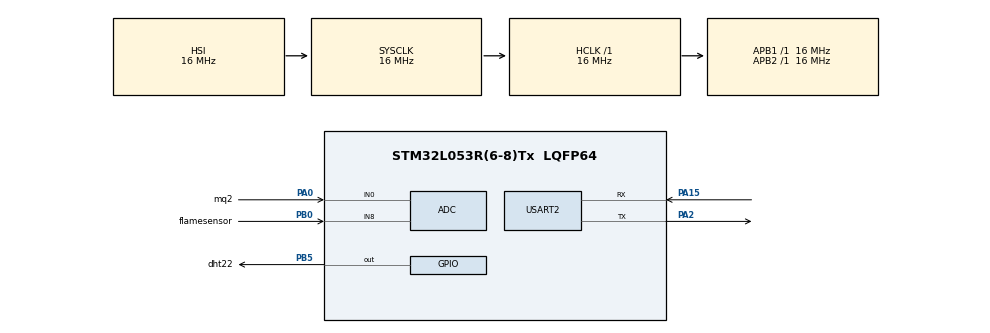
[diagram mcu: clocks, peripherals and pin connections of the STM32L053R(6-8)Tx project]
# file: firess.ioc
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ADC.ContinuousConvMode=ENABLE
ADC.SamplingTime=ADC_SAMPLETIME_3CYCLES_5
Mcu.Family=STM32L0
Mcu.Name=STM32L053R(6-8)Tx
Mcu.Package=LQFP64
PA0.GPIO_Label=mq2
PA0.Mode=IN0
PA0.Signal=ADC_IN0
PA15.Mode=Asynchronous
PA15.Signal=USART2_RX
PA2.Mode=Asynchronous
PA2.Signal=USART2_TX
PB0.GPIO_Label=flamesensor
PB0.Mode=IN8
PB0.Signal=ADC_IN8
PB5.GPIO_Label=dht22
PB5.Signal=GPIO_Output
ProjectManager.HeapSize=0x200
ProjectManager.StackSize=0x400
ProjectManager.TargetToolchain=CMake
RCC.ADCFreq_Value=16000000
RCC.AHBFreq_Value=16000000
RCC.APB1Freq_Value=16000000
RCC.APB1TimFreq_Value=16000000
RCC.APB2Freq_Value=16000000
RCC.APB2TimFreq_Value=16000000
RCC.HCLKFreq_Value=16000000
RCC.HSE_VALUE=8000000
RCC.HSI16_VALUE=16000000
RCC.HSI48_VALUE=48000000
RCC.HSI_VALUE=16000000
RCC.LSE_VALUE=32768
RCC.MSI_VALUE=2097000
RCC.SYSCLKFreq_VALUE=16000000
RCC.SYSCLKSource=RCC_SYSCLKSOURCE_HSI
RCC.VCOOutputFreq_Value=48000000
USART2.VirtualMode-Asynchronous=VM_ASYNC
board=custom

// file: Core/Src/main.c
/* USER CODE BEGIN Header */
/**
  ******************************************************************************
  * @file           : main.c
  * @brief          : Main program body
  ******************************************************************************
  * @attention
  *
  * Copyright (c) 2026 STMicroelectronics.
  * All rights reserved.
  *
  * This software is licensed under terms that can be found in the LICENSE file
  * in the root directory of this software component.
  * If no LICENSE file comes with this software, it is provided AS-IS.
  *
  ******************************************************************************
  */
/* USER CODE END Header */
#include "main.h"

/* USER CODE BEGIN Includes */
#include <stdio.h>
/* USER CODE END Includes */

ADC_HandleTypeDef hadc;

UART_HandleTypeDef huart2;

/* USER CODE BEGIN PV */
uint8_t dht_raw[5] = {0};
/* USER CODE END PV */

void SystemClock_Config(void);
static void MX_GPIO_Init(void);
static void MX_USART2_UART_Init(void);
static void MX_ADC_Init(void);

/* USER CODE BEGIN 0 */

static uint32_t read_adc(uint32_t chselr_mask)
{
    /* 0. ADC'nin aktif olduğundan emin ol (kilitlenmeyi önler) */
    if (!(ADC1->CR & ADC_CR_ADEN)) {
        ADC1->CR |= ADC_CR_ADEN;
        while (!(ADC1->ISR & ADC_ISR_ADRDY));
    }

    /* 1. Devam eden herhangi bir dönüşümü durdur */
    if (ADC1->CR & ADC_CR_ADSTART)
    {
        ADC1->CR |= ADC_CR_ADSTP;
        while (ADC1->CR & ADC_CR_ADSTP);
    }

    /* 2. Kanal seçimini temizle ve yenisini ata */
    ADC1->CHSELR = 0;
    for(volatile int i=0; i<50; i++);
    ADC1->CHSELR = chselr_mask;

    /* 3. Stabilizasyon beklemesi */
    for(volatile int i=0; i<100; i++);

    /* 4. DUMMY READ: Önceki kalıntıları temizle */
    ADC1->ISR |= ADC_ISR_EOC; // Bayrağı temizle
    ADC1->CR |= ADC_CR_ADSTART;
    while (!(ADC1->ISR & ADC_ISR_EOC));
    (void)ADC1->DR;

    /* 5. GERÇEK OKUMA */
    ADC1->CR |= ADC_CR_ADSTART;
    while (!(ADC1->ISR & ADC_ISR_EOC));

    return ADC1->DR;
}

static void delay_us(uint32_t us)
{
    uint32_t clk = us * (SystemCoreClock / 1000000U);
    uint32_t ts = SysTick->VAL;
    uint32_t tc;
    do {
        uint32_t te = SysTick->VAL;
        tc = (te > ts) ? (ts + SysTick->LOAD + 1 - te) : (ts - te);
    } while (tc < clk);
}

static void DHT22_SetOutput(void)
{
    GPIO_InitTypeDef g = {0};
    g.Pin = dht22_Pin;
    g.Mode = GPIO_MODE_OUTPUT_PP;
    g.Pull = GPIO_NOPULL;
    g.Speed = GPIO_SPEED_FREQ_LOW;
    HAL_GPIO_Init(dht22_GPIO_Port, &g);
}

static void DHT22_SetInput(void)
{
    GPIO_InitTypeDef g = {0};
    g.Pin = dht22_Pin;
    g.Mode = GPIO_MODE_INPUT;
    g.Pull = GPIO_PULLUP;
    HAL_GPIO_Init(dht22_GPIO_Port, &g);
}

static uint8_t DHT22_Read(float *temperature, float *humidity)
{
    uint8_t data[5] = {0};
    uint32_t count;

    DHT22_SetOutput();
    HAL_GPIO_WritePin(dht22_GPIO_Port, dht22_Pin, GPIO_PIN_RESET);
    HAL_Delay(1);
    HAL_GPIO_WritePin(dht22_GPIO_Port, dht22_Pin, GPIO_PIN_SET);
    delay_us(30);
    DHT22_SetInput();

    count = 0;
    while (HAL_GPIO_ReadPin(dht22_GPIO_Port, dht22_Pin) == GPIO_PIN_SET)
        if (++count > 10000) return 0;

    count = 0;
    while (HAL_GPIO_ReadPin(dht22_GPIO_Port, dht22_Pin) == GPIO_PIN_RESET)
        if (++count > 10000) return 0;

    count = 0;
    while (HAL_GPIO_ReadPin(dht22_GPIO_Port, dht22_Pin) == GPIO_PIN_SET)
        if (++count > 10000) return 0;

    __disable_irq();
    for (int i = 0; i < 40; i++)
    {
        count = 0;
        while (HAL_GPIO_ReadPin(dht22_GPIO_Port, dht22_Pin) == GPIO_PIN_RESET)
            if (++count > 10000) { __enable_irq(); return 0; }

        uint32_t t1 = SysTick->VAL;
        count = 0;
        while (HAL_GPIO_ReadPin(dht22_GPIO_Port, dht22_Pin) == GPIO_PIN_SET)
            if (++count > 10000) { __enable_irq(); return 0; }
        uint32_t t2 = SysTick->VAL;

        uint32_t dur = (t1 >= t2) ? (t1 - t2) : (t1 + SysTick->LOAD + 1 - t2);

        data[i / 8] <<= 1;
        if (dur > 768) data[i / 8] |= 1;
    }
    __enable_irq();

    for (int i = 0; i < 5; i++) dht_raw[i] = data[i];

    *humidity = ((data[0] << 8) | data[1]) / 10.0f;
    uint16_t rawTemp = (data[2] << 8) | data[3];
    *temperature = (rawTemp & 0x8000) ? -((rawTemp & 0x7FFF) / 10.0f) : (rawTemp / 10.0f);

    return 1;
}

/* USER CODE END 0 */

int main(void)
{

  /* MCU Configuration--------------------------------------------------------*/

  /* Reset of all peripherals, Initializes the Flash interface and the Systick. */
  HAL_Init();

  /* Configure the system clock */
  SystemClock_Config();

  /* Initialize all configured peripherals */
  MX_GPIO_Init();
  MX_USART2_UART_Init();
  MX_ADC_Init();
  /* USER CODE BEGIN 2 */
  HAL_ADCEx_Calibration_Start(&hadc, ADC_SINGLE_ENDED);
  ADC1->CR |= ADC_CR_ADEN;
  while (!(ADC1->ISR & ADC_ISR_ADRDY));
  /* USER CODE END 2 */

  /* Infinite loop */
  /* USER CODE BEGIN WHILE */
  float prevTemp = 0.0f;
  uint8_t firstRead = 1;

  while (1)
  {
    uint32_t mq2Val   = read_adc(1U << 0); /* PA0 -> ADC_IN0 -> MQ2  */
    uint32_t chselr_mq2 = ADC1->CHSELR;
    uint32_t flameVal = read_adc(1U << 8); /* PB0 -> ADC_IN8 -> Flame */
    uint32_t chselr_flame = ADC1->CHSELR;

    {
        char dbg[64];
        int dlen = snprintf(dbg, sizeof(dbg), "[DBG] CHSELR_MQ2=0x%lX CHSELR_FL=0x%lX\r\n",
                            chselr_mq2, chselr_flame);
        HAL_UART_Transmit(&huart2, (uint8_t *)dbg, dlen, 100);
    }

    float temperature = 0.0f, humidity = 0.0f;
    uint8_t dhtOk = DHT22_Read(&temperature, &humidity);

    char buf[96];
    int len;

    int tempInt = (int)temperature;
    int tempDec = (int)((temperature - tempInt) * 10);
    int humInt  = (int)humidity;
    int humDec  = (int)((humidity - humInt) * 10);

    if (dhtOk)
      len = snprintf(buf, sizeof(buf), "MQ2: %lu | Flame: %lu | Temp: %d.%d C | Nem: %d.%d%%\r\n",
                     mq2Val, flameVal, tempInt, tempDec, humInt, humDec);
    else
      len = snprintf(buf, sizeof(buf), "MQ2: %lu | Flame: %lu | DHT22: hata\r\n", mq2Val, flameVal);

    HAL_UART_Transmit(&huart2, (uint8_t *)buf, len, 100);

    uint8_t mq2Alarm   = (mq2Val > 1500);
    uint8_t flameAlarm = (flameVal < 2000);
    uint8_t tempAlarm  = 0;

    if (dhtOk)
    {
      if (!firstRead && (temperature - prevTemp) > 3.0f)
        tempAlarm = 1;
      prevTemp = temperature;
      firstRead = 0;
    }

    uint8_t alarmSkor = mq2Alarm + flameAlarm + tempAlarm;

    if (alarmSkor == 0)
    {
      HAL_UART_Transmit(&huart2, (uint8_t *)"Durum: Normal\r\n", 15, 100);
    }
    else if (alarmSkor == 1)
    {
      if (mq2Alarm)
        HAL_UART_Transmit(&huart2, (uint8_t *)"[UYARI] Duman tespit edildi!\r\n", 30, 100);
      if (flameAlarm)
        HAL_UART_Transmit(&huart2, (uint8_t *)"[UYARI] Alev tespit edildi!\r\n", 29, 100);
      if (tempAlarm)
        HAL_UART_Transmit(&huart2, (uint8_t *)"[UYARI] Ani sicaklik artisi!\r\n", 30, 100);
    }
    else if (alarmSkor == 2)
    {
      HAL_UART_Transmit(&huart2, (uint8_t *)"[TEHLIKE] Yangin tehlikesi! Kontrol edin!\r\n", 43, 100);
    }
    else
    {
      HAL_UART_Transmit(&huart2, (uint8_t *)"[YANGIN] TAHLIYE! TAHLIYE! TAHLIYE!\r\n", 37, 100);
    }

    HAL_Delay(100);
    /* USER CODE END WHILE */

  }
}

void SystemClock_Config(void)
{
  RCC_OscInitTypeDef RCC_OscInitStruct = {0};
  RCC_ClkInitTypeDef RCC_ClkInitStruct = {0};
  RCC_PeriphCLKInitTypeDef PeriphClkInit = {0};

  /** Configure the main internal regulator output voltage
  */
  __HAL_PWR_VOLTAGESCALING_CONFIG(PWR_REGULATOR_VOLTAGE_SCALE1);

  /** Initializes the RCC Oscillators according to the specified parameters
  * in the RCC_OscInitTypeDef structure.
  */
  RCC_OscInitStruct.OscillatorType = RCC_OSCILLATORTYPE_HSI;
  RCC_OscInitStruct.HSIState = RCC_HSI_ON;
  RCC_OscInitStruct.HSICalibrationValue = RCC_HSICALIBRATION_DEFAULT;
  RCC_OscInitStruct.PLL.PLLState = RCC_PLL_NONE;
  if (HAL_RCC_OscConfig(&RCC_OscInitStruct) != HAL_OK)
  {
    Error_Handler();
  }

  /** Initializes the CPU, AHB and APB buses clocks
  */
  RCC_ClkInitStruct.ClockType = RCC_CLOCKTYPE_HCLK|RCC_CLOCKTYPE_SYSCLK
                              |RCC_CLOCKTYPE_PCLK1|RCC_CLOCKTYPE_PCLK2;
  RCC_ClkInitStruct.SYSCLKSource = RCC_SYSCLKSOURCE_HSI;
  RCC_ClkInitStruct.AHBCLKDivider = RCC_SYSCLK_DIV1;
  RCC_ClkInitStruct.APB1CLKDivider = RCC_HCLK_DIV1;
  RCC_ClkInitStruct.APB2CLKDivider = RCC_HCLK_DIV1;

  if (HAL_RCC_ClockConfig(&RCC_ClkInitStruct, FLASH_LATENCY_0) != HAL_OK)
  {
    Error_Handler();
  }
  PeriphClkInit.PeriphClockSelection = RCC_PERIPHCLK_USART2;
  PeriphClkInit.Usart2ClockSelection = RCC_USART2CLKSOURCE_PCLK1;
  if (HAL_RCCEx_PeriphCLKConfig(&PeriphClkInit) != HAL_OK)
  {
    Error_Handler();
  }
}

static void MX_ADC_Init(void)
{

  ADC_ChannelConfTypeDef sConfig = {0};

  /** Configure the global features of the ADC (Clock, Resolution, Data Alignment and number of conversion)
  */
  hadc.Instance = ADC1;
  hadc.Init.OversamplingMode = DISABLE;
  hadc.Init.ClockPrescaler = ADC_CLOCK_SYNC_PCLK_DIV1;
  hadc.Init.Resolution = ADC_RESOLUTION_12B;
  hadc.Init.SamplingTime = ADC_SAMPLETIME_3CYCLES_5;
  hadc.Init.ScanConvMode = ADC_SCAN_DIRECTION_FORWARD;
  hadc.Init.DataAlign = ADC_DATAALIGN_RIGHT;
  hadc.Init.ContinuousConvMode = ENABLE;
  hadc.Init.DiscontinuousConvMode = DISABLE;
  hadc.Init.ExternalTrigConvEdge = ADC_EXTERNALTRIGCONVEDGE_NONE;
  hadc.Init.ExternalTrigConv = ADC_SOFTWARE_START;
  hadc.Init.DMAContinuousRequests = DISABLE;
  hadc.Init.EOCSelection = ADC_EOC_SINGLE_CONV;
  hadc.Init.Overrun = ADC_OVR_DATA_PRESERVED;
  hadc.Init.LowPowerAutoWait = DISABLE;
  hadc.Init.LowPowerFrequencyMode = DISABLE;
  hadc.Init.LowPowerAutoPowerOff = DISABLE;
  if (HAL_ADC_Init(&hadc) != HAL_OK)
  {
    Error_Handler();
  }

  /** Configure for the selected ADC regular channel to be converted.
  */
  sConfig.Channel = ADC_CHANNEL_0;
  sConfig.Rank = ADC_RANK_CHANNEL_NUMBER;
  if (HAL_ADC_ConfigChannel(&hadc, &sConfig) != HAL_OK)
  {
    Error_Handler();
  }

  /** Configure for the selected ADC regular channel to be converted.
  */
  sConfig.Channel = ADC_CHANNEL_8;
  if (HAL_ADC_ConfigChannel(&hadc, &sConfig) != HAL_OK)
  {
    Error_Handler();
  }

}

static void MX_USART2_UART_Init(void)
{

  huart2.Instance = USART2;
  huart2.Init.BaudRate = 115200;
  huart2.Init.WordLength = UART_WORDLENGTH_8B;
  huart2.Init.StopBits = UART_STOPBITS_1;
  huart2.Init.Parity = UART_PARITY_NONE;
  huart2.Init.Mode = UART_MODE_TX_RX;
  huart2.Init.HwFlowCtl = UART_HWCONTROL_NONE;
  huart2.Init.OverSampling = UART_OVERSAMPLING_16;
  huart2.Init.OneBitSampling = UART_ONE_BIT_SAMPLE_DISABLE;
  huart2.AdvancedInit.AdvFeatureInit = UART_ADVFEATURE_NO_INIT;
  if (HAL_UART_Init(&huart2) != HAL_OK)
  {
    Error_Handler();
  }

}

static void MX_GPIO_Init(void)
{
  GPIO_InitTypeDef GPIO_InitStruct = {0};

  /* GPIO Ports Clock Enable */
  __HAL_RCC_GPIOA_CLK_ENABLE();
  __HAL_RCC_GPIOB_CLK_ENABLE();

  /*Configure GPIO pin Output Level */
  HAL_GPIO_WritePin(dht22_GPIO_Port, dht22_Pin, GPIO_PIN_RESET);

  /*Configure GPIO pin : dht22_Pin */
  GPIO_InitStruct.Pin = dht22_Pin;
  GPIO_InitStruct.Mode = GPIO_MODE_OUTPUT_PP;
  GPIO_InitStruct.Pull = GPIO_NOPULL;
  GPIO_InitStruct.Speed = GPIO_SPEED_FREQ_LOW;
  HAL_GPIO_Init(dht22_GPIO_Port, &GPIO_InitStruct);

}

void Error_Handler(void)
{
  __disable_irq();
  while (1)
  {
  }
}
